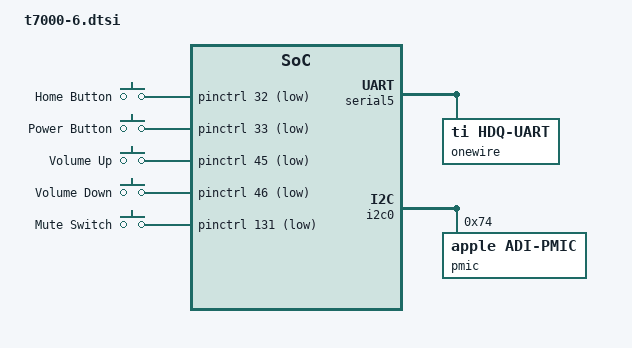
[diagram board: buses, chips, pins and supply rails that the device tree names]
// SPDX-License-Identifier: GPL-2.0+ OR MIT
/*
 * Apple iPhone 6 / 6 Plus common device tree
 * Copyright (c) 2022, Konrad Dybcio <konradybcio@kernel.org>
 */

#include <dt-bindings/input/input.h>
#include "t7000.dtsi"
#include "t7000-common.dtsi"
#include "t7000-handheld.dtsi"

/ {
	chassis-type = "handset";

	aliases {
		serial5 = &serial5;
	};

	gpio-keys {
		compatible = "gpio-keys";

		button-home {
			label = "Home Button";
			gpios = <&pinctrl 32 GPIO_ACTIVE_LOW>;
			linux,code = <KEY_HOMEPAGE>;
			wakeup-source;
		};

		button-power {
			label = "Power Button";
			gpios = <&pinctrl 33 GPIO_ACTIVE_LOW>;
			linux,code = <KEY_POWER>;
			wakeup-source;
		};

		button-volup {
			label = "Volume Up";
			gpios = <&pinctrl 45 GPIO_ACTIVE_LOW>;
			linux,code = <KEY_VOLUMEUP>;
		};

		button-voldown {
			label = "Volume Down";
			gpios = <&pinctrl 46 GPIO_ACTIVE_LOW>;
			linux,code = <KEY_VOLUMEDOWN>;
		};

		switch-mute {
			label = "Mute Switch";
			gpios = <&pinctrl 131 GPIO_ACTIVE_LOW>;
			linux,code = <KEY_MUTE>;
		};
	};
};

/* The bq27540 gauge on UART5's HDQ line (ADT uart5/gas-gauge). */
&serial5 {
	pinctrl-0 = <&uart5_pins>;
	pinctrl-names = "default";
	status = "okay";

	onewire {
		compatible = "ti,hdq-uart";

		fuel-gauge {
			compatible = "ti,bq27540-hdq";
		};
	};
};

&framebuffer0 {
	power-domains = <&ps_disp0 &ps_mipi_dsi>;
};

&typhoon_opp06 {
	status = "okay";
};

&i2c0 {
	status = "okay";

	pmic@74 {
		compatible = "apple,adi-pmic", "apple,i2c-pmic";
		reg = <0x74>;
		#address-cells = <1>;
		#size-cells = <1>;

		rtc@5c0 {
			compatible = "apple,adi-pmic-rtc", "apple,amber-pmic-rtc";
			reg = <0x5c0 0x10>;
			nvmem-cells = <&rtc_offset>;
			nvmem-cell-names = "rtc_offset";
		};

		nvmem@4000 {
			compatible = "apple,pmic-nvmem";
			reg = <0x4000 0x28>;

			nvmem-layout {
				compatible = "fixed-layout";
				#address-cells = <1>;
				#size-cells = <1>;

				rtc_offset: rtc-offset@4 {
					reg = <0x4 0x4>;
				};
			};
		};
	};
};

/* The boot loader set up the display; nothing restores it after power loss. */
&ps_disp0 {
	apple,always-on;
	apple,manual-pm;
};

&ps_mipi_dsi {
	apple,always-on;
	apple,manual-pm;
};
